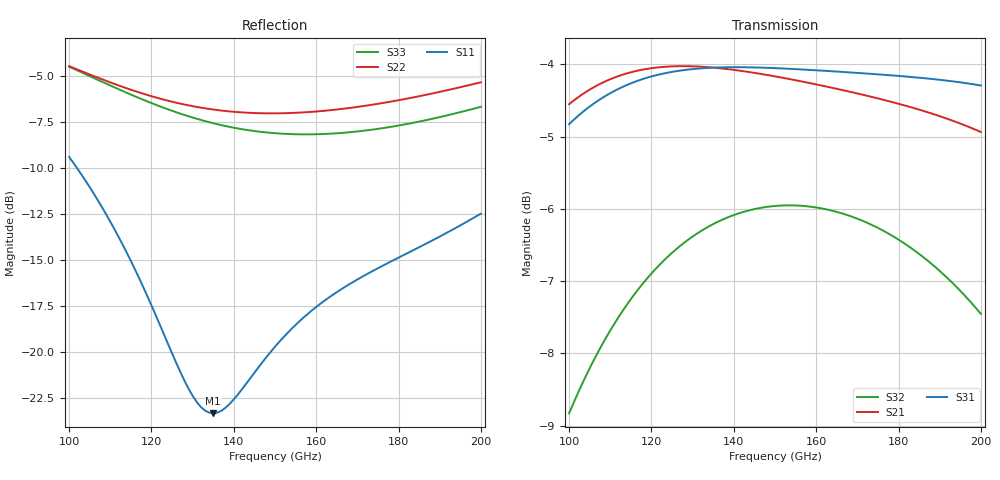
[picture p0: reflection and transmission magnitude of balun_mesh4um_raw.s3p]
#  GHZ S DB R 50.0
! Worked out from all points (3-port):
!   101 points, 100 GHz to 200 GHz, reference 50 ohm
!   strongest paths, dB at 100 GHz, 125 GHz, 150 GHz, 175 GHz, 200 GHz:
!     S31: -4.8, -4.1, -4.1, -4.1, -4.3
!     S21: -4.6, -4.0, -4.2, -4.5, -4.9
!     S32: -8.8, -6.6, -6.0, -6.3, -7.5
!   lowest |S11| = -23.3 dB at 135 GHz (marker M1), VSWR 1.15, Z = 44 + j2.18 ohm
!   |S11| at or under -10 dB: 101.9 GHz to end of sweep
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100  -9.41 126.3  -4.55 -16.9  -4.83 158.8
     -4.55 -16.9  -4.49 58.8  -8.83 88.5
     -4.83 158.8  -8.83 88.5  -4.51 48.0
116  -15.51 114.8  -4.10 -42.0  -4.24 132.1
     -4.10 -42.0  -5.84 45.4  -7.17 63.8
     -4.24 132.1  -7.17 63.8  -6.12 31.8
129  -21.97 134.0  -4.03 -60.5  -4.07 112.3
     -4.03 -60.5  -6.61 36.5  -6.42 45.4
     -4.07 112.3  -6.42 45.4  -7.20 21.2
135  -23.31 158.9  -4.05 -68.5  -4.05 103.7
     -4.05 -68.5  -6.84 32.7  -6.21 37.3
     -4.05 103.7  -6.21 37.3  -7.58 16.8
139  -22.79 174.4  -4.07 -73.7  -4.04 98.1
     -4.07 -73.7  -6.94 30.1  -6.11 32.0
     -4.04 98.1  -6.11 32.0  -7.78 14.0
150  -19.70 -165.3  -4.17 -87.5  -4.05 83.3
     -4.17 -87.5  -7.05 22.6  -5.96 18.0
     -4.05 83.3  -5.96 18.0  -8.12 6.3
160  -17.54 -161.3  -4.28 -99.6  -4.08 70.4
     -4.28 -99.6  -6.94 15.2  -5.98 5.8
     -4.08 70.4  -5.98 5.8  -8.18 -1.0
173  -15.68 -160.8  -4.44 -115.0  -4.13 53.9
     -4.44 -115.0  -6.60 4.5  -6.21 -9.8
     -4.13 53.9  -6.21 -9.8  -7.95 -11.3
187  -14.07 -161.4  -4.66 -131.6  -4.20 36.3
     -4.66 -131.6  -6.02 -8.6  -6.71 -26.6
     -4.20 36.3  -6.71 -26.6  -7.40 -23.8
200  -12.48 -163.0  -4.94 -147.4  -4.29 19.5
     -4.94 -147.4  -5.36 -21.9  -7.45 -42.3
     -4.29 19.5  -7.45 -42.3  -6.69 -36.6
